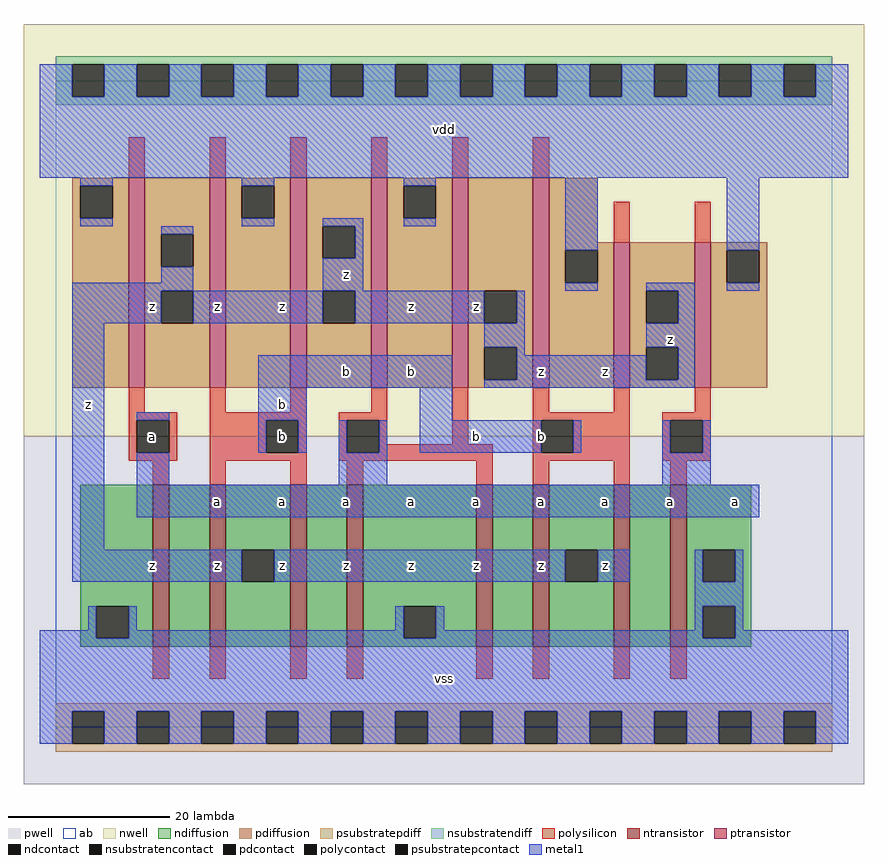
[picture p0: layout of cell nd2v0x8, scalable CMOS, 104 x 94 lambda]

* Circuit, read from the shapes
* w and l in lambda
.subckt nd2v0x8 a b vdd vss z
M1 n1 a vss vss nfet w=20 l=2
M2 z b n1 vss nfet w=20 l=2
M3 n2 b z vss nfet w=20 l=2
M4 vss a n2 vss nfet w=20 l=2
M5 n3 a vss vss nfet w=20 l=2
M6 z b n3 vss nfet w=20 l=2
M7 n4 b z vss nfet w=20 l=2
M8 vss a n4 vss nfet w=20 l=2
M9 z a vdd vdd pfet w=26 l=2 m=3
M10 vdd b z vdd pfet w=26 l=2 m=3
M11 z b vdd vdd pfet w=18 l=2
M12 vdd a z vdd pfet w=18 l=2
.ends

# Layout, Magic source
magic
tech scmos
<< ab >>
rect 0 0 96 80
<< pwell >>
rect -4 -7 100 36
<< nwell >>
rect -4 36 100 87
<< polysilicon >>
rect 9 68 11 73
rect 19 68 21 73
rect 29 68 31 73
rect 39 68 41 73
rect 49 68 51 73
rect 59 68 61 73
rect 69 60 71 65
rect 79 60 81 65
rect 9 39 11 42
rect 19 39 21 42
rect 29 39 31 42
rect 39 39 41 42
rect 9 38 15 39
rect 9 34 10 38
rect 14 34 15 38
rect 9 33 15 34
rect 19 38 31 39
rect 19 34 26 38
rect 30 34 31 38
rect 19 33 31 34
rect 35 38 41 39
rect 35 34 36 38
rect 40 35 41 38
rect 49 35 51 42
rect 59 39 61 42
rect 69 39 71 42
rect 79 39 81 42
rect 59 38 71 39
rect 40 34 54 35
rect 35 33 54 34
rect 12 30 14 33
rect 19 30 21 33
rect 29 30 31 33
rect 36 30 38 33
rect 52 30 54 33
rect 59 34 60 38
rect 64 34 71 38
rect 59 33 71 34
rect 75 38 81 39
rect 75 34 76 38
rect 80 34 81 38
rect 75 33 81 34
rect 59 30 61 33
rect 69 30 71 33
rect 76 30 78 33
rect 12 6 14 10
rect 19 6 21 10
rect 29 6 31 10
rect 36 6 38 10
rect 52 6 54 10
rect 59 6 61 10
rect 69 6 71 10
rect 76 6 78 10
<< ndiffusion >>
rect 3 15 12 30
rect 3 11 5 15
rect 9 11 12 15
rect 3 10 12 11
rect 14 10 19 30
rect 21 22 29 30
rect 21 18 23 22
rect 27 18 29 22
rect 21 10 29 18
rect 31 10 36 30
rect 38 15 52 30
rect 38 11 43 15
rect 47 11 52 15
rect 38 10 52 11
rect 54 10 59 30
rect 61 22 69 30
rect 61 18 63 22
rect 67 18 69 22
rect 61 10 69 18
rect 71 10 76 30
rect 78 22 86 30
rect 78 18 80 22
rect 84 18 86 22
rect 78 15 86 18
rect 78 11 80 15
rect 84 11 86 15
rect 78 10 86 11
<< pdiffusion >>
rect 2 67 9 68
rect 2 63 3 67
rect 7 63 9 67
rect 2 42 9 63
rect 11 61 19 68
rect 11 57 13 61
rect 17 57 19 61
rect 11 54 19 57
rect 11 50 13 54
rect 17 50 19 54
rect 11 42 19 50
rect 21 67 29 68
rect 21 63 23 67
rect 27 63 29 67
rect 21 42 29 63
rect 31 62 39 68
rect 31 58 33 62
rect 37 58 39 62
rect 31 54 39 58
rect 31 50 33 54
rect 37 50 39 54
rect 31 42 39 50
rect 41 67 49 68
rect 41 63 43 67
rect 47 63 49 67
rect 41 42 49 63
rect 51 54 59 68
rect 51 50 53 54
rect 57 50 59 54
rect 51 47 59 50
rect 51 43 53 47
rect 57 43 59 47
rect 51 42 59 43
rect 61 60 67 68
rect 61 59 69 60
rect 61 55 63 59
rect 67 55 69 59
rect 61 42 69 55
rect 71 54 79 60
rect 71 50 73 54
rect 77 50 79 54
rect 71 47 79 50
rect 71 43 73 47
rect 77 43 79 47
rect 71 42 79 43
rect 81 59 88 60
rect 81 55 83 59
rect 87 55 88 59
rect 81 42 88 55
<< metal1 >>
rect -2 78 2 82
rect 6 78 10 82
rect 14 78 18 82
rect 22 78 26 82
rect 30 78 34 82
rect 38 78 42 82
rect 46 78 50 82
rect 54 78 58 82
rect 62 78 66 82
rect 70 78 74 82
rect 78 78 82 82
rect 86 78 90 82
rect 94 78 98 82
rect -2 68 98 78
rect 3 67 7 68
rect 3 62 7 63
rect 23 67 27 68
rect 43 67 47 68
rect 23 62 27 63
rect 33 62 38 63
rect 43 62 47 63
rect 13 61 17 62
rect 13 55 17 57
rect 2 54 17 55
rect 37 58 38 62
rect 33 54 38 58
rect 63 59 67 68
rect 83 59 87 68
rect 63 54 67 55
rect 73 54 79 55
rect 83 54 87 55
rect 2 50 13 54
rect 17 50 33 54
rect 37 50 53 54
rect 57 50 58 54
rect 2 22 6 50
rect 53 47 58 50
rect 25 42 49 46
rect 57 46 58 47
rect 77 50 79 54
rect 73 47 79 50
rect 57 43 73 46
rect 77 43 79 47
rect 53 42 79 43
rect 10 38 14 39
rect 25 38 31 42
rect 45 38 49 42
rect 25 34 26 38
rect 30 34 31 38
rect 35 34 36 38
rect 40 34 41 38
rect 45 34 60 38
rect 64 34 65 38
rect 75 34 76 38
rect 80 34 81 38
rect 10 30 14 34
rect 35 30 41 34
rect 75 30 81 34
rect 10 26 87 30
rect 2 18 23 22
rect 27 18 63 22
rect 67 18 71 22
rect 79 18 80 22
rect 84 18 85 22
rect 79 15 85 18
rect 4 12 5 15
rect -2 11 5 12
rect 9 12 10 15
rect 42 12 43 15
rect 9 11 43 12
rect 47 12 48 15
rect 79 12 80 15
rect 47 11 80 12
rect 84 12 85 15
rect 84 11 98 12
rect -2 2 98 11
rect -2 -2 2 2
rect 6 -2 10 2
rect 14 -2 18 2
rect 22 -2 26 2
rect 30 -2 34 2
rect 38 -2 42 2
rect 46 -2 50 2
rect 54 -2 58 2
rect 62 -2 66 2
rect 70 -2 74 2
rect 78 -2 82 2
rect 86 -2 90 2
rect 94 -2 98 2
<< ntransistor >>
rect 12 10 14 30
rect 19 10 21 30
rect 29 10 31 30
rect 36 10 38 30
rect 52 10 54 30
rect 59 10 61 30
rect 69 10 71 30
rect 76 10 78 30
<< ptransistor >>
rect 9 42 11 68
rect 19 42 21 68
rect 29 42 31 68
rect 39 42 41 68
rect 49 42 51 68
rect 59 42 61 68
rect 69 42 71 60
rect 79 42 81 60
<< polycontact >>
rect 10 34 14 38
rect 26 34 30 38
rect 36 34 40 38
rect 60 34 64 38
rect 76 34 80 38
<< ndcontact >>
rect 5 11 9 15
rect 23 18 27 22
rect 43 11 47 15
rect 63 18 67 22
rect 80 18 84 22
rect 80 11 84 15
<< pdcontact >>
rect 3 63 7 67
rect 13 57 17 61
rect 13 50 17 54
rect 23 63 27 67
rect 33 58 37 62
rect 33 50 37 54
rect 43 63 47 67
rect 53 50 57 54
rect 53 43 57 47
rect 63 55 67 59
rect 73 50 77 54
rect 73 43 77 47
rect 83 55 87 59
<< psubstratepcontact >>
rect 2 -2 6 2
rect 10 -2 14 2
rect 18 -2 22 2
rect 26 -2 30 2
rect 34 -2 38 2
rect 42 -2 46 2
rect 50 -2 54 2
rect 58 -2 62 2
rect 66 -2 70 2
rect 74 -2 78 2
rect 82 -2 86 2
rect 90 -2 94 2
<< nsubstratencontact >>
rect 2 78 6 82
rect 10 78 14 82
rect 18 78 22 82
rect 26 78 30 82
rect 34 78 38 82
rect 42 78 46 82
rect 50 78 54 82
rect 58 78 62 82
rect 66 78 70 82
rect 74 78 78 82
rect 82 78 86 82
rect 90 78 94 82
<< psubstratepdiff >>
rect 0 2 96 3
rect 0 -2 2 2
rect 6 -2 10 2
rect 14 -2 18 2
rect 22 -2 26 2
rect 30 -2 34 2
rect 38 -2 42 2
rect 46 -2 50 2
rect 54 -2 58 2
rect 62 -2 66 2
rect 70 -2 74 2
rect 78 -2 82 2
rect 86 -2 90 2
rect 94 -2 96 2
rect 0 -3 96 -2
<< nsubstratendiff >>
rect 0 82 96 83
rect 0 78 2 82
rect 6 78 10 82
rect 14 78 18 82
rect 22 78 26 82
rect 30 78 34 82
rect 38 78 42 82
rect 46 78 50 82
rect 54 78 58 82
rect 62 78 66 82
rect 70 78 74 82
rect 78 78 82 82
rect 86 78 90 82
rect 94 78 96 82
rect 0 77 96 78
<< labels >>
rlabel metal1 12 20 12 20 6 z
rlabel metal1 4 40 4 40 6 z
rlabel polycontact 12 36 12 36 6 a
rlabel metal1 12 52 12 52 6 z
rlabel metal1 20 20 20 20 6 z
rlabel metal1 20 28 20 28 6 a
rlabel metal1 28 20 28 20 6 z
rlabel metal1 28 28 28 28 6 a
rlabel polycontact 28 36 28 36 6 b
rlabel metal1 28 40 28 40 6 b
rlabel metal1 28 52 28 52 6 z
rlabel metal1 20 52 20 52 6 z
rlabel metal1 48 6 48 6 6 vss
rlabel metal1 36 20 36 20 6 z
rlabel metal1 36 28 36 28 6 a
rlabel metal1 44 20 44 20 6 z
rlabel metal1 44 28 44 28 6 a
rlabel metal1 52 20 52 20 6 z
rlabel metal1 52 28 52 28 6 a
rlabel metal1 36 44 36 44 6 b
rlabel metal1 44 44 44 44 6 b
rlabel metal1 52 36 52 36 6 b
rlabel metal1 44 52 44 52 6 z
rlabel metal1 52 52 52 52 6 z
rlabel metal1 36 56 36 56 6 z
rlabel metal1 48 74 48 74 6 vdd
rlabel metal1 60 20 60 20 6 z
rlabel metal1 60 28 60 28 6 a
rlabel metal1 68 20 68 20 6 z
rlabel metal1 68 28 68 28 6 a
rlabel metal1 76 28 76 28 6 a
rlabel metal1 60 36 60 36 6 b
rlabel metal1 60 44 60 44 6 z
rlabel metal1 68 44 68 44 6 z
rlabel metal1 76 48 76 48 6 z
rlabel metal1 84 28 84 28 6 a
<< end >>
